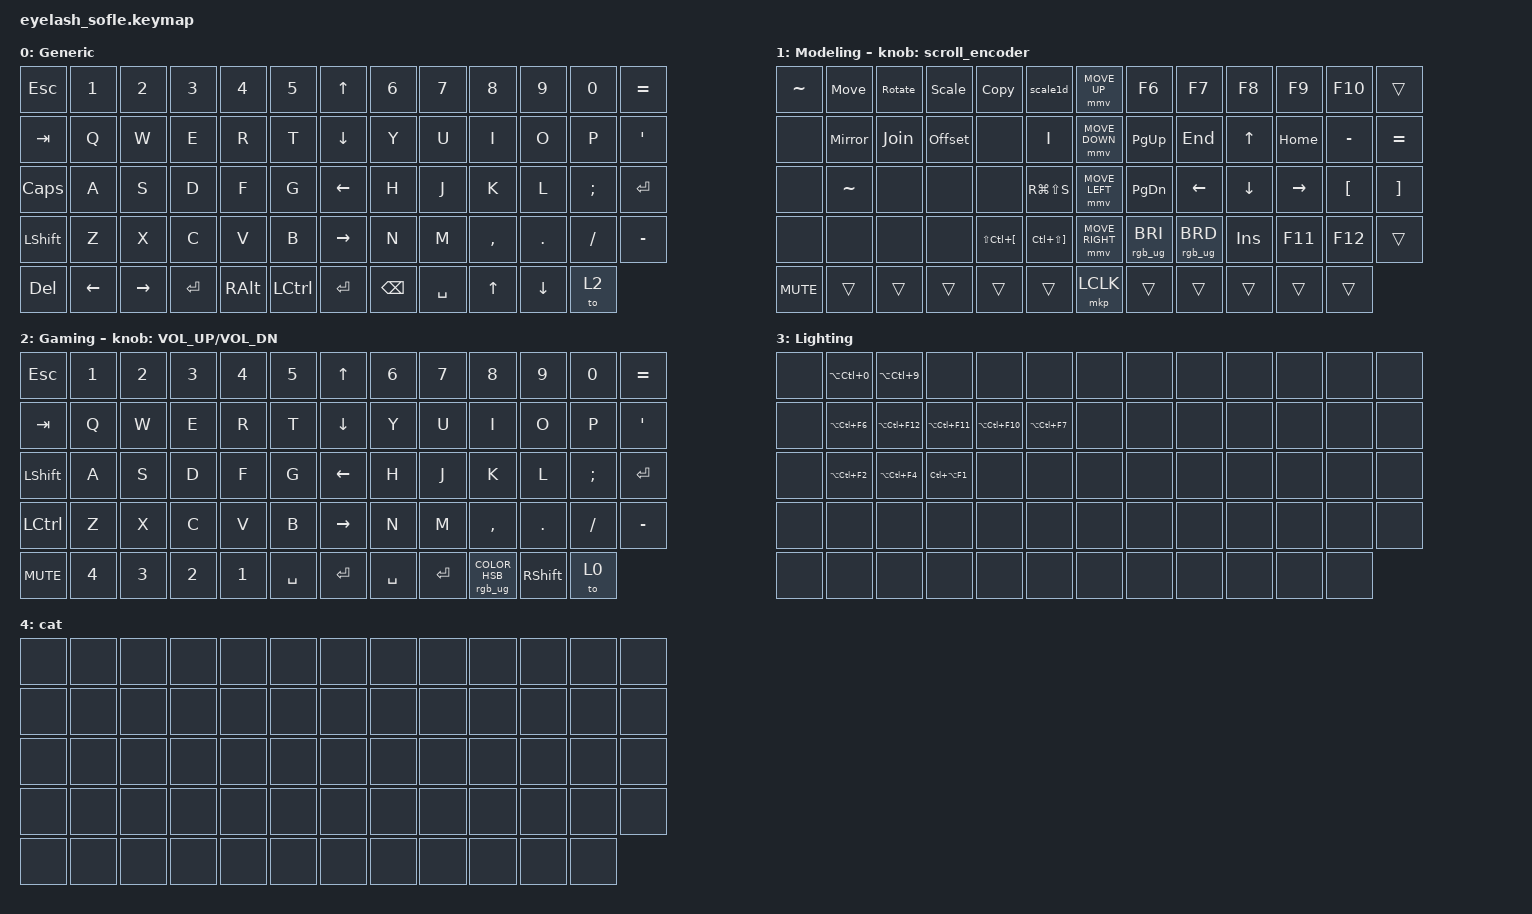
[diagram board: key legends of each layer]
#define ZMK_POINTING_DEFAULT_MOVE_VAL 1200  // 600
#define ZMK_POINTING_DEFAULT_SCRL_VAL 25   // 10

#include <input/processors.dtsi>
#include <zephyr/dt-bindings/input/input-event-codes.h>
#include <behaviors.dtsi>
#include <dt-bindings/zmk/bt.h>
#include <dt-bindings/zmk/keys.h>
#include <dt-bindings/zmk/pointing.h>
#include <dt-bindings/zmk/rgb.h>

&mmv_input_listener { input-processors = <&zip_xy_scaler 2 1>; };

&msc_input_listener { input-processors = <&zip_scroll_scaler 2 1>; };

&msc {
    acceleration-exponent = <1>;
    time-to-max-speed-ms = <100>;
    delay-ms = <0>;
};

&mmv {
    time-to-max-speed-ms = <500>;
    acceleration-exponent = <1>;
    trigger-period-ms = <16>;
};

/ {
    scroll_encoder: scroll_encoder {
        compatible = "zmk,behavior-sensor-rotate";
        #sensor-binding-cells = <0>;
        bindings = <&msc SCRL_DOWN>, <&msc SCRL_UP>;

        tap-ms = <100>;
    };

    behaviors {
    };

    combos {
        compatible = "zmk,combos";

        Mo1 {
            bindings = <&sl 1>;
            key-positions = <29 30>;
        };

        cat {
            bindings = <&to 4>;
            key-positions = <5 0>;
        };

        del {
            bindings = <&kp DEL>;
            key-positions = <5 4>;
        };

        ent {
            bindings = <&kp ENTER>;
            key-positions = <31 30>;
        };

        rgbon {
            bindings = <&rgb_ug RGB_ON>;
            key-positions = <0 1 2>;
        };

        cream {
            bindings = <&rgb_ug RGB_OFF>;
            key-positions = <1 3 2>;
        };

        catoff {
            bindings = <&to 0>;
            key-positions = <27 28 29 30>;
        };

        lighting {
            bindings = <&sl 3>;
            key-positions = <2 5>;
        };

        Bluetoothsearch {
            bindings = <&bt BT_NXT>;
            key-positions = <26 13 0>;
        };
    };

    macros {
        Move: Move {
            compatible = "zmk,behavior-macro";
            #binding-cells = <0>;
            bindings = <&kp M &kp O &kp V &kp E &kp ENTER>;
            label = "MOVE";
        };

        Rotate: Rotate {
            compatible = "zmk,behavior-macro";
            #binding-cells = <0>;
            bindings = <&kp R &kp O &kp T &kp A &kp T &kp E &kp RET>;
            label = "ROTATE";
        };

        Scale: Scale {
            compatible = "zmk,behavior-macro";
            #binding-cells = <0>;
            bindings = <&kp S &kp C &kp A &kp L &kp E &kp RET>;
            label = "SCALE";
        };

        Copy: Copy {
            compatible = "zmk,behavior-macro";
            #binding-cells = <0>;
            bindings = <&kp C &kp O &kp P &kp Y &kp RET>;
            label = "COPY";
        };

        scale1d: scale1d {
            compatible = "zmk,behavior-macro";
            #binding-cells = <0>;
            bindings = <&kp S &kp C &kp A &kp L &kp E &kp N1 &kp D &kp RET>;
            label = "SCALE1D";
        };

        Mirror: Mirror {
            compatible = "zmk,behavior-macro";
            #binding-cells = <0>;
            bindings = <&kp M &kp I &kp R &kp R &kp O &kp R &kp RET>;
            label = "MIRROR";
        };

        Join: Join {
            compatible = "zmk,behavior-macro";
            #binding-cells = <0>;
            bindings = <&kp J &kp O &kp I &kp N &kp RET>;
            label = "JOIN";
        };

        Offset: new_macro {
            compatible = "zmk,behavior-macro";
            #binding-cells = <0>;
            bindings = <&kp O &kp F &kp F &kp S &kp E &kp T &kp RET>;
            label = "NEW_MACRO";
        };
    };

    keymap {
        compatible = "zmk,keymap";

        generic {
            bindings = <
&kp ESC    &kp N1          &kp N2           &kp N3     &kp N4         &kp N5              &kp UP_ARROW     &kp N6         &kp N7     &kp N8        &kp N9          &kp N0    &kp EQUAL
&kp TAB    &kp Q           &kp W            &kp E      &kp R          &kp T               &kp DOWN_ARROW   &kp Y          &kp U      &kp I         &kp O           &kp P     &kp SINGLE_QUOTE
&kp CAPS   &kp A           &kp S            &kp D      &kp F          &kp G               &kp LEFT_ARROW   &kp H          &kp J      &kp K         &kp L           &kp SEMI  &kp ENTER
&kp LSHFT  &kp Z           &kp X            &kp C      &kp V          &kp B               &kp RIGHT_ARROW  &kp N          &kp M      &kp COMMA     &kp DOT         &kp FSLH  &kp MINUS
&kp DEL    &kp LEFT_ARROW  &kp RIGHT_ARROW  &kp ENTER  &kp RIGHT_ALT  &kp LEFT_CONTROL    &kp ENTER        &kp BACKSPACE  &kp SPACE  &kp UP_ARROW  &kp DOWN_ARROW  &to 2
            >;

            display-name = "Generic";
        };

        modeling {
            bindings = <
&kp TILDE   &Move      &Rotate  &Scale   &Copy                     &scale1d                     &mmv MOVE_UP     &kp F6           &kp F7           &kp F8      &kp F9     &kp F10           &trans
&none       &Mirror    &Join    &Offset  &none                     &kp I                        &mmv MOVE_DOWN   &kp PG_UP        &kp END          &kp UP      &kp HOME   &kp MINUS         &kp EQUAL
&none       &kp TILDE  &none    &none    &none                     &kp RG(LS(S))                &mmv MOVE_LEFT   &kp PG_DN        &kp LEFT         &kp DOWN    &kp RIGHT  &kp LEFT_BRACKET  &kp RIGHT_BRACKET
&none       &none      &none    &none    &kp LS(LC(LEFT_BRACKET))  &kp LC(LS(RIGHT_BRACKET))    &mmv MOVE_RIGHT  &rgb_ug RGB_BRI  &rgb_ug RGB_BRD  &kp INSERT  &kp F11    &kp F12           &trans
&kp C_MUTE  &trans     &trans   &trans   &trans                    &trans                       &mkp LCLK        &trans           &trans           &trans      &trans     &trans
            >;

            display-name = "Modeling";
            sensor-bindings = <&scroll_encoder>;
        };

        gaming {
            bindings = <
&kp ESC           &kp N1        &kp N2        &kp N3        &kp N4        &kp N5       &kp UP_ARROW     &kp N6     &kp N7     &kp N8                             &kp N9           &kp N0    &kp EQUAL
&kp TAB           &kp Q         &kp W         &kp E         &kp R         &kp T        &kp DOWN_ARROW   &kp Y      &kp U      &kp I                              &kp O            &kp P     &kp SINGLE_QUOTE
&kp LEFT_SHIFT    &kp A         &kp S         &kp D         &kp F         &kp G        &kp LEFT_ARROW   &kp H      &kp J      &kp K                              &kp L            &kp SEMI  &kp ENTER
&kp LEFT_CONTROL  &kp Z         &kp X         &kp C         &kp V         &kp B        &kp RIGHT_ARROW  &kp N      &kp M      &kp COMMA                          &kp DOT          &kp FSLH  &kp MINUS
&kp C_MUTE        &kp NUMBER_4  &kp NUMBER_3  &kp NUMBER_2  &kp NUMBER_1  &kp SPACE    &kp ENTER        &kp SPACE  &kp ENTER  &rgb_ug RGB_COLOR_HSB(328,100,50)  &kp RIGHT_SHIFT  &to 0
            >;

            sensor-bindings = <&inc_dec_kp C_VOLUME_UP C_VOL_DN>;
            display-name = "Gaming";
        };

        Lighting {
            bindings = <
&none  &kp LA(LC(NUMBER_0))  &kp LA(LC(NUMBER_9))  &none            &none            &none             &none  &none  &none  &none  &none  &none  &none
&none  &kp LA(LC(F6))        &kp LA(LC(F12))       &kp LA(LC(F11))  &kp LA(LC(F10))  &kp LA(LC(F7))    &none  &none  &none  &none  &none  &none  &none
&none  &kp LA(LC(F2))        &kp LA(LC(F4))        &kp LC(LA(F1))   &none            &none             &none  &none  &none  &none  &none  &none  &none
&none  &none                 &none                 &none            &none            &none             &none  &none  &none  &none  &none  &none  &none
&none  &none                 &none                 &none            &none            &none             &none  &none  &none  &none  &none  &none
            >;
        };

        cat {
            bindings = <
&none  &none  &none  &none  &none  &none    &none  &none  &none  &none  &none  &none  &none
&none  &none  &none  &none  &none  &none    &none  &none  &none  &none  &none  &none  &none
&none  &none  &none  &none  &none  &none    &none  &none  &none  &none  &none  &none  &none
&none  &none  &none  &none  &none  &none    &none  &none  &none  &none  &none  &none  &none
&none  &none  &none  &none  &none  &none    &none  &none  &none  &none  &none  &none
            >;
        };
    };
};
